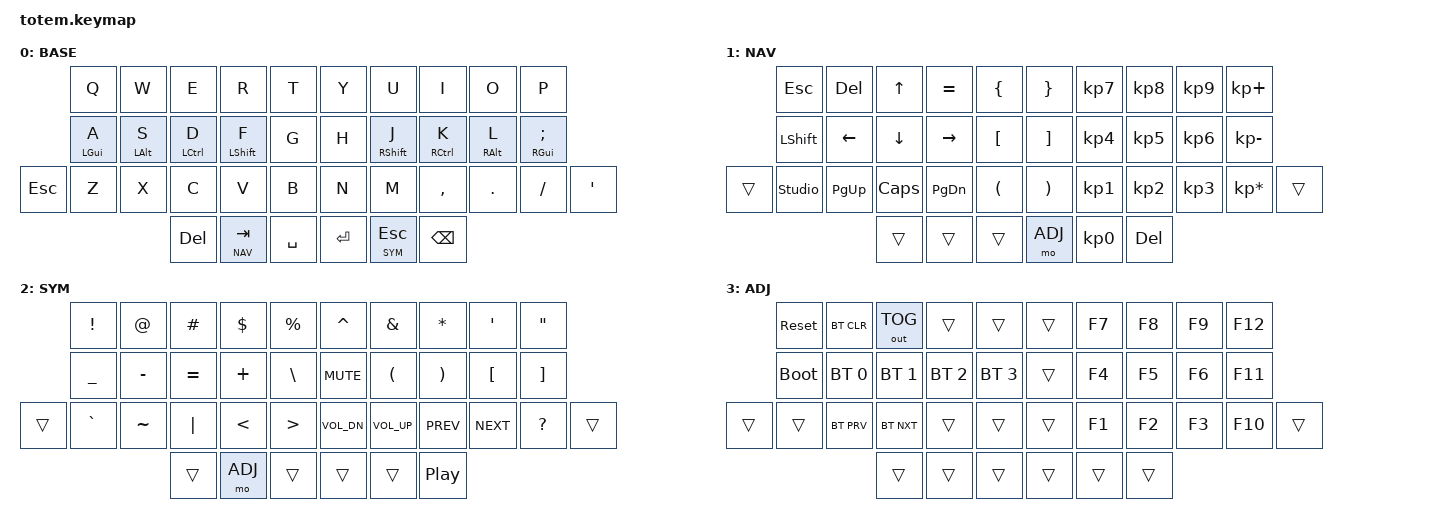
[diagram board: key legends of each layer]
/*
 * TOTEM - CODE/KEEB firmware.
 *
 * Based on the keymap that ships with the TOTEM shield module
 * (BildermanKawasaki/zmk-keyboard-TOTEM), which in turn follows
 * GEIGEIGEIST's original layout for this board.
 *
 * Physical layout, 38 keys. The outer keys on the top two rows ARE the
 * rotated pinky column -- they are not extra keys -- and the bottom row
 * carries one additional outer key on each side:
 *
 *   row 0 (pos  0-9 ) : 5 + 5   top row, pinky included
 *   row 1 (pos 10-19) : 5 + 5   home row, pinky included
 *   row 2 (pos 20-31) : 6 + 6   bottom row + one outer key per side
 *   row 3 (pos 32-37) : 3 + 3   thumbs
 *
 * ZMK Studio: hold NAV (left inner thumb) and press Z to unlock the
 * keymap for editing. The board boots locked, so a client can connect
 * and read the layout but cannot change anything until that key is
 * pressed. It re-locks on disconnect and on reboot.
 */

#include <behaviors.dtsi>
#include <dt-bindings/zmk/keys.h>
#include <dt-bindings/zmk/bt.h>
#include <dt-bindings/zmk/outputs.h>

#define BASE 0
#define NAV  1
#define SYM  2
#define ADJ  3

&mt {
    quick-tap-ms = <100>;
    require-prior-idle-ms = <100>;
    flavor = "tap-preferred";
    tapping-term-ms = <170>;
};

/ {
    keymap {
        compatible = "zmk,keymap";

        base_layer {
            display-name = "BASE";
// ╭─────┬─────┬─────┬─────┬─────╮   ╭─────┬─────┬─────┬─────┬─────╮
// │  Q  │  W  │  E  │  R  │  T  │   │  Y  │  U  │  I  │  O  │  P  │
// ├─────┼─────┼─────┼─────┼─────┤   ├─────┼─────┼─────┼─────┼─────┤
// │  A  │  S  │  D  │  F  │  G  │   │  H  │  J  │  K  │  L  │  ;  │
// ├─────┼─────┼─────┼─────┼─────┤   ├─────┼─────┼─────┼─────┼─────┤
// │  Z  │  X  │  C  │  V  │  B  │   │  N  │  M  │  ,  │  .  │  /  │
// ╰─────┴─────┴──┬──┴──┬──┴──┬──╯   ╰──┬──┴──┬──┴──┬──┴─────┴─────╯
//                │ DEL │ TAB │ SPC │ RET │ ESC │BSPC │
//                ╰─────┴─────┴─────┴─────┴─────┴─────╯
// Home row mods: A/S/D/F and J/K/L/; are GUI/ALT/CTRL/SHIFT on hold.
// TAB holds NAV, ESC holds SYM. Outer bottom keys are ESC and '.
            bindings = <
              &kp Q        &kp W        &kp E        &kp R        &kp T             &kp Y      &kp U        &kp I        &kp O        &kp P
              &mt LGUI A   &mt LALT S   &mt LCTRL D  &mt LSHFT F  &kp G             &kp H      &mt RSHFT J  &mt RCTRL K  &mt RALT L   &mt RGUI SEMI
  &kp ESC     &kp Z        &kp X        &kp C        &kp V        &kp B             &kp N      &kp M        &kp COMMA    &kp DOT      &kp FSLH      &kp SQT
                                        &kp DEL      &lt NAV TAB  &kp SPACE         &kp RET    &lt SYM ESC  &kp BSPC
            >;
        };

        nav_layer {
            display-name = "NAV";
// ╭─────┬─────┬─────┬─────┬─────╮   ╭─────┬─────┬─────┬─────┬─────╮
// │ ESC │     │ UP  │  =  │  {  │   │  }  │  7  │  8  │  9  │  +  │
// ├─────┼─────┼─────┼─────┼─────┤   ├─────┼─────┼─────┼─────┼─────┤
// │SHIFT│LEFT │DOWN │RIGHT│  [  │   │  ]  │  4  │  5  │  6  │  -  │
// ├─────┼─────┼─────┼─────┼─────┤   ├─────┼─────┼─────┼─────┼─────┤
// │STUDI│PG UP│CAPS │PG DN│  (  │   │  )  │  1  │  2  │  3  │  *  │
// ╰─────┴─────┴──┬──┴──┬──┴──┬──╯   ╰──┬──┴──┬──┴──┬──┴─────┴─────╯
//                │     │(held)│    │ ADJ │  0  │ DEL │
//                ╰─────┴─────┴─────┴─────┴─────┴─────╯
// STUDI = &studio_unlock, on the Z key: hold NAV and press Z.
            bindings = <
              &kp ESC        &kp DEL     &kp UP       &kp EQUAL    &kp LBRC          &kp RBRC   &kp KP_N7   &kp KP_N8   &kp KP_N9   &kp KP_PLUS
              &kp LSHFT      &kp LEFT    &kp DOWN     &kp RIGHT    &kp LBKT          &kp RBKT   &kp KP_N4   &kp KP_N5   &kp KP_N6   &kp KP_MINUS
  &trans      &studio_unlock &kp PG_UP   &kp CAPS     &kp PG_DN    &kp LPAR          &kp RPAR   &kp KP_N1   &kp KP_N2   &kp KP_N3   &kp KP_MULTIPLY &trans
                                         &trans       &trans       &trans            &mo ADJ    &kp KP_N0   &kp DEL
            >;
        };

        sym_layer {
            display-name = "SYM";
// ╭─────┬─────┬─────┬─────┬─────╮   ╭─────┬─────┬─────┬─────┬─────╮
// │  !  │  @  │  #  │  $  │  %  │   │  ^  │  &  │  *  │  '  │  "  │
// ├─────┼─────┼─────┼─────┼─────┤   ├─────┼─────┼─────┼─────┼─────┤
// │  _  │  -  │  =  │  +  │  \  │   │MUTE │  (  │  )  │  [  │  ]  │
// ├─────┼─────┼─────┼─────┼─────┤   ├─────┼─────┼─────┼─────┼─────┤
// │  `  │  ~  │  |  │  <  │  >  │   │VOL- │VOL+ │PREV │NEXT │  ?  │
// ╰─────┴─────┴──┬──┴──┬──┴──┬──╯   ╰──┬──┴──┬──┴──┬──┴─────┴─────╯
//                │     │ ADJ │     │     │(held)│    │
//                ╰─────┴─────┴─────┴─────┴─────┴─────╯
            bindings = <
              &kp EXCL    &kp AT       &kp HASH    &kp DLLR    &kp PRCNT          &kp CARET     &kp AMPS      &kp ASTRK   &kp SQT     &kp DQT
              &kp UNDER   &kp MINUS    &kp EQUAL   &kp PLUS    &kp BSLH           &kp C_MUTE    &kp LPAR      &kp RPAR    &kp LBKT    &kp RBKT
  &trans      &kp GRAVE   &kp TILDE    &kp PIPE    &kp LT      &kp GT             &kp C_VOL_DN  &kp C_VOL_UP  &kp C_PREV  &kp C_NEXT  &kp QMARK  &trans
                                       &trans      &mo ADJ     &trans             &trans        &trans        &kp C_PP
            >;
        };

        adjust_layer {
            display-name = "ADJ";
// Reached from NAV or SYM (the inner thumb of the other half).
// ╭─────┬─────┬─────┬─────┬─────╮   ╭─────┬─────┬─────┬─────┬─────╮
// │RESET│BTCLR│OUTTG│     │     │   │     │ F7  │ F8  │ F9  │ F12 │
// ├─────┼─────┼─────┼─────┼─────┤   ├─────┼─────┼─────┼─────┼─────┤
// │BOOTL│BT 1 │BT 2 │BT 3 │BT 4 │   │     │ F4  │ F5  │ F6  │ F11 │
// ├─────┼─────┼─────┼─────┼─────┤   ├─────┼─────┼─────┼─────┼─────┤
// │     │BTPRV│BTNXT│     │     │   │     │ F1  │ F2  │ F3  │ F10 │
// ╰─────┴─────┴──┬──┴──┬──┴──┬──╯   ╰──┬──┴──┬──┴──┬──┴─────┴─────╯
//                │     │     │     │     │     │     │
//                ╰─────┴─────┴─────┴─────┴─────┴─────╯
            bindings = <
              &sys_reset  &bt BT_CLR   &out OUT_TOG &trans        &trans            &trans     &kp F7   &kp F8   &kp F9   &kp F12
              &bootloader &bt BT_SEL 0 &bt BT_SEL 1 &bt BT_SEL 2  &bt BT_SEL 3      &trans     &kp F4   &kp F5   &kp F6   &kp F11
  &trans      &trans      &bt BT_PRV   &bt BT_NXT   &trans        &trans            &trans     &kp F1   &kp F2   &kp F3   &kp F10   &trans
                                       &trans       &trans        &trans            &trans     &trans   &trans
            >;
        };
    };
};
